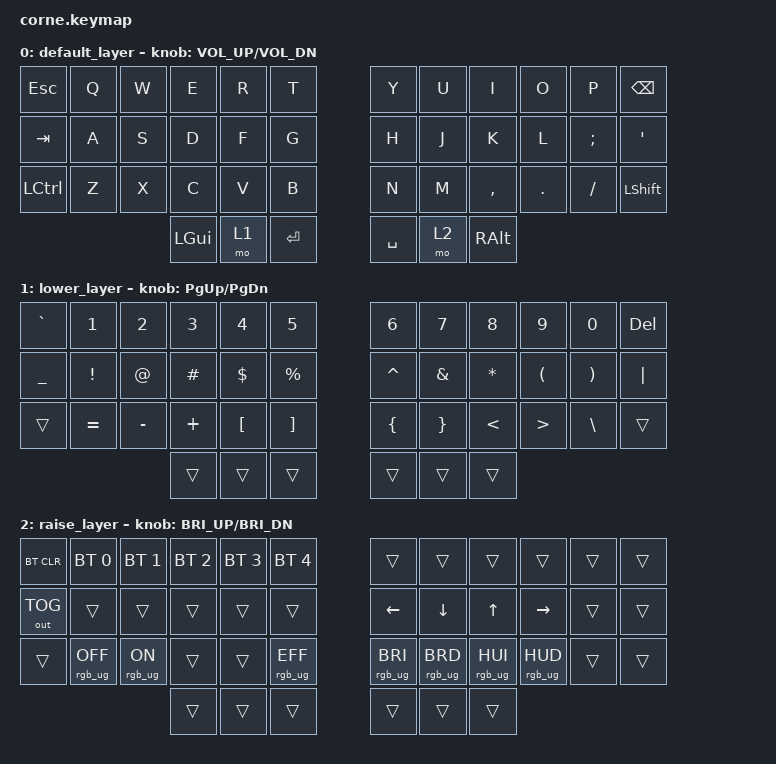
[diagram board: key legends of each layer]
/* config/corne.keymap */

#include <behaviors.dtsi>
#include <dt-bindings/zmk/keys.h>
#include <dt-bindings/zmk/bt.h>
#include <dt-bindings/zmk/outputs.h>
#include <dt-bindings/zmk/rgb.h>

/ {
    keymap {
        compatible = "zmk,keymap";

        /* LAYER 0: DEFAULT */
        default_layer {
            /* Giro do Knob = Volume */
            sensor-bindings = <&inc_dec_kp C_VOL_UP C_VOL_DN>;

            bindings = <
    &kp ESC    &kp Q &kp W &kp E &kp R &kp T   &kp Y &kp U  &kp I     &kp O   &kp P    &kp BSPC
    &kp TAB    &kp A &kp S &kp D &kp F &kp G   &kp H &kp J  &kp K     &kp L   &kp SEMI &kp SQT
    &kp LCTRL  &kp Z &kp X &kp C &kp V &kp B   &kp N &kp M  &kp COMMA &kp DOT &kp FSLH &kp LSHFT
                   &kp LGUI &mo 1 &kp RET      &kp SPACE &mo 2 &kp RALT
            >;
        };

        /* LAYER 1: Numeros e Simbolos */
        lower_layer {
            sensor-bindings = <&inc_dec_kp PG_UP PG_DN>; 
            
            bindings = <
    &kp GRAVE &kp N1    &kp N2    &kp N3    &kp N4    &kp N5       &kp N6    &kp N7    &kp N8    &kp N9    &kp N0   &kp DEL
    &kp UNDER &kp EXCL  &kp AT    &kp HASH  &kp DLLR  &kp PRCNT    &kp CARET &kp AMPS  &kp STAR  &kp LPAR  &kp RPAR &kp PIPE
    &trans    &kp EQUAL &kp MINUS &kp PLUS  &kp LBKT  &kp RBKT     &kp LBRC  &kp RBRC  &kp LT    &kp GT    &kp BSLH &trans
                                  &trans    &trans    &trans       &trans    &trans    &trans
            >;
        };

        /* LAYER 2: Bluetooth, Nav e RGB */
        raise_layer {
            sensor-bindings = <&inc_dec_kp C_BRI_UP C_BRI_DN>; 
            
            bindings = <
    &bt BT_CLR   &bt BT_SEL 0    &bt BT_SEL 1    &bt BT_SEL 2    &bt BT_SEL 3    &bt BT_SEL 4      &trans           &trans           &trans           &trans           &trans &trans
    &out OUT_TOG &trans          &trans          &trans          &trans          &trans            &kp LEFT         &kp DOWN         &kp UP           &kp RIGHT        &trans &trans
    &trans       &rgb_ug RGB_OFF &rgb_ug RGB_ON  &trans          &trans          &rgb_ug RGB_EFF   &rgb_ug RGB_BRI  &rgb_ug RGB_BRD  &rgb_ug RGB_HUI  &rgb_ug RGB_HUD  &trans &trans
                                                 &trans          &trans          &trans            &trans           &trans           &trans
            >;
        };
    };
};
